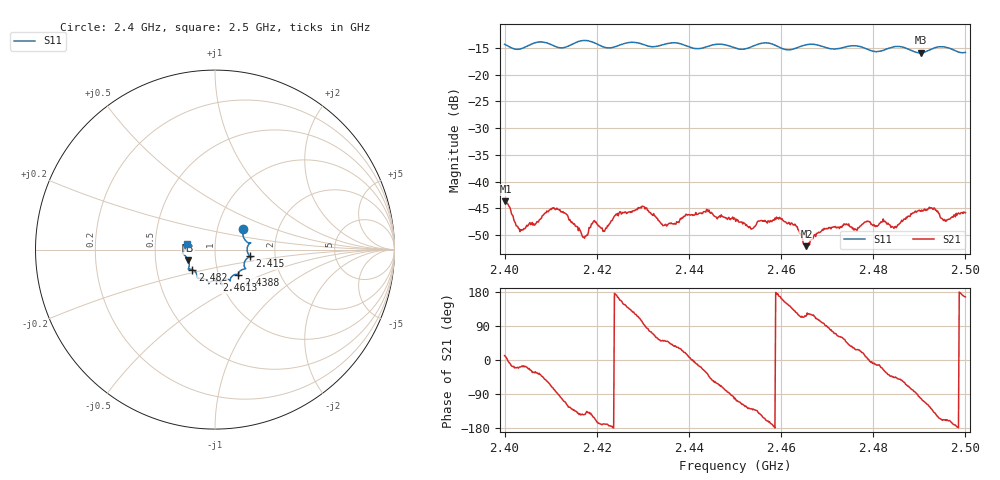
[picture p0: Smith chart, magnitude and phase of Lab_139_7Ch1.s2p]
# Hz S RI R 50
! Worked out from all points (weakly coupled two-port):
!   601 points, 2.4 GHz to 2.5 GHz, reference 50 ohm
!   highest |S21| = -43.69 dB at 2.4002 GHz (marker M1); lowest = -52.1 dB at 2.4655 GHz (marker M2)
!   lowest |S11| = -15.9 dB at 2.4903 GHz (marker M3), VSWR 1.38, Z = 36.8 - j4.43 ohm
!   |S11| at or under -10 dB: start of sweep to end of sweep
!   S12 and S22 are empty: the file has one direction only
!   S11 on the Smith chart (normalised r, x): 2.4 GHz: 1.33, +0.31; 2.415 GHz: 1.47, -0.11; 2.4388 GHz: 1.24, -0.36; 2.4613 GHz: 0.96, -0.34; 2.482 GHz: 0.76, -0.17; 2.5 GHz: 0.72, +0.05
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2.4e9  0.1573 0.1123  0.00635 0.00131  0 0  0 0
2.400167e9  0.1567 0.1104  0.00646 0.00106  0 0  0 0
2.4035e9  0.1663 0.0556  0.00338 -0.00112  0 0  0 0
2.410333e9  0.1875 0.0285  0.00171 -0.00539  0 0  0 0
2.415e9  0.1928 -0.0363  -0.00262 -0.00302  0 0  0 0
2.416667e9  0.2038 -0.0439  -0.00264 -0.0019  0 0  0 0
2.4295e9  0.1639 -0.1077  -0.00167 0.00551  0 0  0 0
2.433333e9  0.1315 -0.1317  0.00249 0.00354  0 0  0 0
2.438833e9  0.1295 -0.1404  0.00441 0.00169  0 0  0 0
2.443833e9  0.0863 -0.1615  0.00457 -0.00307  0 0  0 0
2.45e9  0.0688 -0.1648  -0.000838 -0.00441  0 0  0 0
2.4535e9  0.0361 -0.1788  -0.00225 -0.00279  0 0  0 0
2.461333e9  0.00808 -0.1714  -0.00342 0.00213  0 0  0 0
2.4655e9  -0.0343 -0.1881  -0.00112 0.00222  0 0  0 0
2.466667e9  -0.0348 -0.1903  -0.0014 0.0025  0 0  0 0
2.469833e9  -0.0424 -0.1744  -4.8e-05 0.00364  0 0  0 0
2.482e9  -0.126 -0.1118  0.00389 -0.00159  0 0  0 0
2.483333e9  -0.1397 -0.1087  0.00311 -0.0025  0 0  0 0
2.490333e9  -0.1495 -0.0587  -0.00101 -0.00517  0 0  0 0
2.493e9  -0.1746 -0.0265  -0.0039 -0.00384  0 0  0 0
2.495667e9  -0.1808 -0.0179  -0.00393 -0.00164  0 0  0 0
2.5e9  -0.1586 0.0326  -0.00497 0.00118  0 0  0 0
